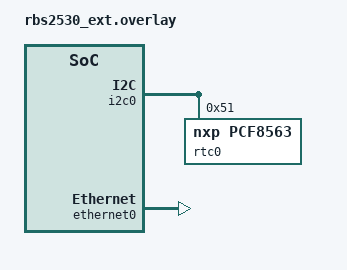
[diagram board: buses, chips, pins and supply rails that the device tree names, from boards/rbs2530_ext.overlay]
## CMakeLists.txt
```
# SPDX-License-Identifier: Apache-2.0

cmake_minimum_required(VERSION 3.20.0)
find_package(Zephyr REQUIRED HINTS $ENV{ZEPHYR_BASE})
project(sntp_rtc)

target_include_directories(app PRIVATE ${ZEPHYR_BASE}/subsys/net/lib/sntp)

target_sources(app PRIVATE src/main.c)
```

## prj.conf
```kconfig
# General configuration
CONFIG_REQUIRES_FULL_LIBC=y
CONFIG_POSIX_API=y
CONFIG_SHELL=y
# RTC configuration
CONFIG_RTC=y
CONFIG_RTC_SHELL=y

# Network configuration
CONFIG_NETWORKING=y
CONFIG_NET_IPV4=y
CONFIG_NET_UDP=y
CONFIG_NET_SHELL=y

# Socket configuration
CONFIG_NET_SOCKETS=y
CONFIG_NET_SOCKETS_POLL_MAX=16

# Network driver configuration
CONFIG_TEST_RANDOM_GENERATOR=y

# SNTP configuration
CONFIG_SNTP=y
CONFIG_NET_CONFIG_CLOCK_SNTP_INIT=y
CONFIG_NET_CONFIG_SNTP_INIT_SERVER="192.168.10.1"

# Stack size
CONFIG_MAIN_STACK_SIZE=2048

# Logging configuration
CONFIG_NET_LOG=y
CONFIG_LOG=y
CONFIG_LOG_MODE_IMMEDIATE=y
# CONFIG_NET_SOCKETS_LOG_LEVEL_INF=y
CONFIG_SNTP_LOG_LEVEL_INF=y
CONFIG_RTC_LOG_LEVEL_INF=y
```

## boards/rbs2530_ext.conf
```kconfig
CONFIG_SYSTEM_WORKQUEUE_STACK_SIZE=8192
CONFIG_SYSTEM_WORKQUEUE_PRIORITY=2
CONFIG_NUM_PREEMPT_PRIORITIES=16

CONFIG_ETH_FMQL=y
CONFIG_SERIAL_INIT_PRIORITY=50
CONFIG_ETH_INIT_PRIORITY=80
CONFIG_NOCACHE_MEMORY=y

CONFIG_LOG=y
CONFIG_LOG_MODE_IMMEDIATE=y
CONFIG_LOG_BACKEND_SHOW_COLOR=n
CONFIG_LOG_MODE_DEFERRED=y
CONFIG_LOG_BUFFER_SIZE=8192
CONFIG_NET_LOG=y

CONFIG_NET_L2_ETHERNET=y
CONFIG_NET_L2_ETHERNET_MGMT=y
CONFIG_NET_ICMPV4_ACCEPT_BROADCAST=y

CONFIG_NET_IPV6=n
```

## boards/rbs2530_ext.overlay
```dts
/ {
	aliases {
		my-i2c = &i2c0;
		rtc = &rtc0;
	};
};

/* RTC configuration */
&i2c0 {
	pinctrl-0 = <&i2c0_pins_mio_50>, <&i2c0_pins_mio_51>;
	pinctrl-names = "default";
	status = "okay";

	rtc0: pcf8563@51 {
		compatible = "nxp,pcf8563";
		status = "okay";
		reg = <0x51>;
	};
};

/* Network configuration */
&ethernet0 {
	status = "okay";
};

&ethernet1 {
	status = "disabled";
};
```

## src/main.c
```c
/**
 * Copyright (c) 2025 SYSFly Co.
 * SPDX-License-Identifier: Apache-2.0
 */

#include <zephyr/logging/log.h>
#include <zephyr/kernel.h>
#include <zephyr/device.h>
#include <zephyr/drivers/rtc.h>
#include <zephyr/net/sntp.h>
#include <arpa/inet.h>
#include <time.h>

LOG_MODULE_REGISTER(sntp_rtc_sample, LOG_LEVEL_INF);

#if defined(CONFIG_NET_CONFIG_SNTP_INIT_SERVER)
#define SERVER_ADDR CONFIG_NET_CONFIG_SNTP_INIT_SERVER
#else
#define SERVER_ADDR "192.168.10.1"
#endif

/* RTC device tree definitions */
#if DT_NODE_HAS_STATUS(DT_ALIAS(rtc), okay)
/* Use RTC alias if available */
#define RTC_DEV_NODE DT_ALIAS(rtc)
#elif DT_NODE_EXISTS(DT_NODELABEL(rtc0))
/* Fallback to RTC node label */
#define RTC_DEV_NODE DT_NODELABEL(rtc0)
#else
#error "No suitable RTC device found in device tree"
#endif

#define SNTP_PORT             (123)
#define TIME_UPDATE_INTERVAL  (10)       /* Time update interval in seconds */
#define CHINA_TIMEZONE_OFFSET (8 * 3600) /* China timezone offset (UTC+8) in seconds */

/* Convert epoch time to RTC time structure, considering timezone */
static void epoch_to_rtc_time(time_t epoch, struct rtc_time *rtc_tm, bool apply_timezone)
{
	struct tm *time_info;
	time_t adjusted_time = epoch;

	/* Apply timezone offset */
	if (apply_timezone) {
		adjusted_time += CHINA_TIMEZONE_OFFSET;
	}

	time_info = gmtime(&adjusted_time);
	if (time_info == NULL) {
		LOG_ERR("Failed to convert time");
		return;
	}

	rtc_tm->tm_sec = time_info->tm_sec;
	rtc_tm->tm_min = time_info->tm_min;
	rtc_tm->tm_hour = time_info->tm_hour;
	rtc_tm->tm_mday = time_info->tm_mday;
	rtc_tm->tm_mon = time_info->tm_mon;
	rtc_tm->tm_year = time_info->tm_year;
	rtc_tm->tm_wday = time_info->tm_wday;
	rtc_tm->tm_yday = time_info->tm_yday;
	rtc_tm->tm_isdst = time_info->tm_isdst;
}

/* Print RTC time */
static void print_rtc_time(const struct rtc_time *rtc_tm)
{
	LOG_INF("RTC Time: %04d-%02d-%02d %02d:%02d:%02d", rtc_tm->tm_year + 1900,
		rtc_tm->tm_mon + 1, rtc_tm->tm_mday, rtc_tm->tm_hour, rtc_tm->tm_min,
		rtc_tm->tm_sec);
}

/* Print network time */
static void print_network_time(const struct tm *time_info)
{
	LOG_INF("Network Time (UTC+8): %04d-%02d-%02d %02d:%02d:%02d", time_info->tm_year + 1900,
		time_info->tm_mon + 1, time_info->tm_mday, time_info->tm_hour, time_info->tm_min,
		time_info->tm_sec);
}

int main(void)
{
	const struct device *rtc_dev;
	struct sntp_ctx ctx;
	struct sockaddr_in addr;
	struct sntp_time sntp_timestamp;
	struct rtc_time rtc_tm;
	int rv;
	int retries = 0;

#ifdef CONFIG_I2C_DW_DMA
	LOG_INF("DesignWare DMA support enabled.");
#endif

	/* Get RTC device from device tree */
	rtc_dev = DEVICE_DT_GET(RTC_DEV_NODE);
	if (!device_is_ready(rtc_dev)) {
		LOG_ERR("RTC device not ready");
		return -1;
	}
	LOG_INF("RTC device ready\n\n");

	/* Read and print current RTC time */
	rv = rtc_get_time(rtc_dev, &rtc_tm);
	if (rv < 0) {
		LOG_ERR("Failed to read initial RTC time: %d", rv);
	} else {
		LOG_INF("Initial RTC time:");
		print_rtc_time(&rtc_tm);
	}

	/* Allow network stack to initialize */
	LOG_INF("Waiting for network to initialize...");
	k_sleep(K_SECONDS(5));
	LOG_INF("Network initialization wait completed");

	/* Initialize SNTP client IPv4 configuration */
	memset(&addr, 0, sizeof(addr));
	addr.sin_family = AF_INET;
	addr.sin_port = htons(SNTP_PORT);
	inet_pton(AF_INET, SERVER_ADDR, &addr.sin_addr);
	LOG_INF("SNTP server address: %s\n", SERVER_ADDR);

	/* Initialize SNTP context */
	rv = sntp_init(&ctx, (struct sockaddr *)&addr, sizeof(struct sockaddr_in));
	if (rv < 0) {
		LOG_ERR("SNTP initialization failed: %d", rv);
		return -1;
	}

	while (1) {
		/* Send SNTP request */
		LOG_INF("Sending SNTP request...");
		rv = sntp_query(&ctx, 10 * MSEC_PER_SEC, &sntp_timestamp);
		if (rv < 0) {
			LOG_ERR("SNTP request failed: %d", rv);
			retries++;
			if (retries > 5) {
				LOG_ERR("SNTP request failed after 5 retries");
				break;
			}
			LOG_INF("Retrying in %d s...", TIME_UPDATE_INTERVAL);
			k_sleep(K_SECONDS(TIME_UPDATE_INTERVAL));
			continue;
		}

		LOG_INF("SNTP status: %d", rv);
		LOG_INF("Epoch time: %llu seconds", (unsigned long long)sntp_timestamp.seconds);

		/* Get current time (UTC) */
		time_t current_time = (time_t)sntp_timestamp.seconds;

		/* Apply timezone offset and print */
		time_t china_time = current_time + CHINA_TIMEZONE_OFFSET;
		struct tm *time_info = gmtime(&china_time);

		if (time_info == NULL) {
			LOG_ERR("Time conversion failed");
			k_sleep(K_SECONDS(TIME_UPDATE_INTERVAL));
			continue;
		}

		/* Print network time with timezone applied */
		print_network_time(time_info);

		/* Convert to RTC format and update RTC */
		epoch_to_rtc_time(current_time, &rtc_tm, true);
		rv = rtc_set_time(rtc_dev, &rtc_tm);
		if (rv < 0) {
			LOG_ERR("Failed to set RTC time: %d", rv);
		} else {
			LOG_INF("RTC time updated.");
		}

		/* Read and display RTC time to confirm successful update */
		rv = rtc_get_time(rtc_dev, &rtc_tm);
		if (rv < 0) {
			LOG_ERR("Failed to read RTC time: %d", rv);
		} else {
			print_rtc_time(&rtc_tm);
		}

		/* Wait for next update */
		LOG_INF("Waiting %d seconds for next update...\n\n", TIME_UPDATE_INTERVAL);
		k_sleep(K_SECONDS(TIME_UPDATE_INTERVAL));
	}

	/* Close SNTP context */
	sntp_close(&ctx);
	return 0;
}
```
